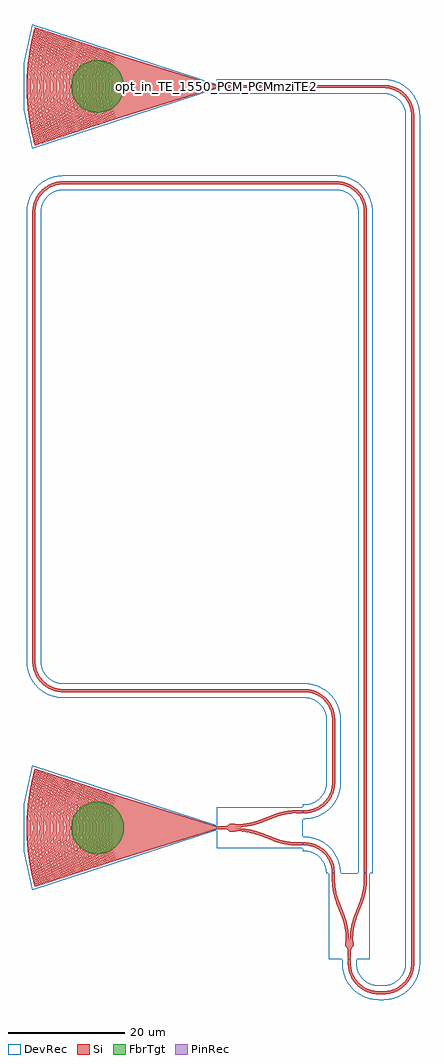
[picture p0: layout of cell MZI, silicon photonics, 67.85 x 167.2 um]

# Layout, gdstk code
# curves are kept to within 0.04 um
from math import pi, radians
import gdstk
lib = gdstk.Library(unit=1e-6, precision=1e-09)
def R(c, l, rs):  # rectangles x0, y0, x1, y1
    for r in rs: c.add(gdstk.rectangle(r[:2], r[2:], *l))
def P(c, l, *ps):  # polygons
    for p in ps: c.add(gdstk.Polygon(p, *l))
Si = (1, 0)
PinRec = (1, 10)
DevRec = (68, 0)
FbrTgt = (81, 0)

te1550_subgc_neg31_oxide = lib.new_cell('TE1550_SubGC_neg31_oxide')
P(te1550_subgc_neg31_oxide, Si, [(-17.556,-5.704),(-17.743,-4.914),(-17.881,-4.233),(-18.016,-3.437),(-18.095,-2.866),(-18.165,-2.237),(-18.222,-1.549),(-18.256,-0.918),(-18.274,-0.115),(-18.264,0.689),(-18.233,1.377),(-18.176,2.122),(-18.095,2.866),(-18.016,3.437),(-17.881,4.233),(-17.743,4.914),(-17.556,5.704),(-17.481,5.68),(-17.643,5.006),(-17.784,4.329),(-17.922,3.536),(-18.032,2.74),(-18.104,2.056),(-18.148,1.486),(-18.186,0.686),(-18.196,0.114),(-18.189,-0.572),(-18.165,-1.2),(-18.123,-1.828),(-18.058,-2.512),(-17.948,-3.365),(-17.826,-4.102),(-17.668,-4.893),(-17.481,-5.68)],
  [(-17.906,-5.818),(-18.207,-4.492),(-18.452,-2.982),(-18.601,-1.405),(-18.643,-0.117),(-18.601,1.405),(-18.452,2.982),(-18.207,4.492),(-17.906,5.818),(-17.659,5.738),(-17.932,4.544),(-18.188,2.998),(-18.338,1.443),(-18.383,0.116),(-18.338,-1.443),(-18.188,-2.998),(-17.932,-4.544),(-17.659,-5.738)],
  [(-18.084,-5.876),(-18.24,-5.237),(-18.4,-4.479),(-18.525,-3.776),(-18.629,-3.071),(-18.717,-2.305),(-18.772,-1.656),(-18.811,-0.946),(-18.83,-0.118),(-18.823,0.592),(-18.791,1.36),(-18.739,2.069),(-18.644,2.953),(-18.544,3.658),(-18.4,4.479),(-18.24,5.237),(-18.084,5.876),(-18.01,5.852),(-18.204,5.041),(-18.368,4.227),(-18.503,3.409),(-18.609,2.589),(-18.713,1.354),(-18.745,0.589),(-18.752,0.118),(-18.745,-0.589),(-18.713,-1.354),(-18.609,-2.589),(-18.503,-3.409),(-18.368,-4.227),(-18.204,-5.041),(-18.01,-5.852)],
  [(-18.435,-5.99),(-18.77,-4.506),(-19.001,-3.071),(-19.135,-1.748),(-19.199,-0.121),(-19.159,1.387),(-19.001,3.071),(-18.77,4.506),(-18.435,5.99),(-18.188,5.91),(-18.517,4.445),(-18.744,3.029),(-18.896,1.427),(-18.939,0.119),(-18.896,-1.427),(-18.759,-2.911),(-18.517,-4.445),(-18.188,-5.91)],
  [(-18.613,-6.048),(-18.815,-5.211),(-18.963,-4.49),(-19.099,-3.705),(-19.201,-2.979),(-19.269,-2.373),(-19.338,-1.522),(-19.369,-0.913),(-19.386,-0.122),(-19.377,0.67),(-19.349,1.339),(-19.286,2.191),(-19.201,2.979),(-19.099,3.705),(-18.963,4.49),(-18.815,5.211),(-18.613,6.048),(-18.539,6.024),(-18.713,5.309),(-18.876,4.532),(-19.013,3.751),(-19.131,2.907),(-19.203,2.242),(-19.264,1.455),(-19.291,0.91),(-19.308,0.121),(-19.299,-0.667),(-19.271,-1.334),(-19.239,-1.819),(-19.166,-2.605),(-19.076,-3.329),(-18.91,-4.352),(-18.753,-5.13),(-18.539,-6.024)],
  [(-18.964,-6.162),(-19.262,-4.881),(-19.533,-3.283),(-19.689,-1.799),(-19.755,-0.124),(-19.717,1.365),(-19.573,2.974),(-19.334,4.513),(-18.964,6.162),(-18.717,6.081),(-19.046,4.636),(-19.301,3.057),(-19.43,1.775),(-19.495,0.122),(-19.454,-1.408),(-19.301,-3.057),(-19.046,-4.636),(-18.717,-6.081)],
  [(-19.142,-6.22),(-19.337,-5.421),(-19.48,-4.742),(-19.625,-3.936),(-19.726,-3.251),(-19.808,-2.566),(-19.884,-1.691),(-19.924,-0.94),(-19.942,-0.125),(-19.934,0.626),(-19.9,1.44),(-19.833,2.316),(-19.758,3.002),(-19.635,3.874),(-19.516,4.556),(-19.337,5.421),(-19.142,6.22),(-19.068,6.195),(-19.289,5.277),(-19.44,4.538),(-19.587,3.673),(-19.696,2.866),(-19.772,2.12),(-19.822,1.435),(-19.853,0.749),(-19.864,0.125),(-19.853,-0.749),(-19.822,-1.435),(-19.772,-2.12),(-19.696,-2.866),(-19.587,-3.673),(-19.44,-4.538),(-19.289,-5.277),(-19.068,-6.195)],
  [(-19.493,-6.334),(-19.839,-4.829),(-20.107,-3.185),(-20.256,-1.658),(-20.311,-0.128),(-20.268,1.467),(-20.107,3.185),(-19.839,4.829),(-19.493,6.334),(-19.246,6.253),(-19.574,4.829),(-19.842,3.207),(-19.997,1.637),(-20.051,0.126),(-20.005,-1.511),(-19.866,-3.019),(-19.622,-4.581),(-19.246,-6.253)],
  [(-19.671,-6.391),(-19.843,-5.697),(-20.008,-4.937),(-20.149,-4.173),(-20.283,-3.278),(-20.379,-2.444),(-20.438,-1.738),(-20.482,-0.901),(-20.498,-0.129),(-20.482,0.901),(-20.438,1.738),(-20.379,2.444),(-20.283,3.278),(-20.149,4.173),(-20.008,4.937),(-19.843,5.697),(-19.671,6.391),(-19.597,6.367),(-19.797,5.55),(-20.005,4.538),(-20.153,3.648),(-20.246,2.946),(-20.325,2.179),(-20.373,1.539),(-20.404,0.898),(-20.42,0.128),(-20.412,-0.641),(-20.384,-1.347),(-20.336,-2.051),(-20.261,-2.819),(-20.153,-3.648),(-20.017,-4.474),(-19.825,-5.424),(-19.597,-6.367)],
  [(-20.022,-6.505),(-20.392,-4.896),(-20.656,-3.272),(-20.81,-1.704),(-20.867,-0.131),(-20.81,1.704),(-20.656,3.272),(-20.392,4.896),(-20.022,6.505),(-19.774,6.425),(-20.139,4.835),(-20.382,3.36),(-20.542,1.812),(-20.607,0.129),(-20.567,-1.424),(-20.399,-3.231),(-20.139,-4.835),(-19.774,-6.425)],
  [(-20.199,-6.563),(-20.437,-5.591),(-20.599,-4.809),(-20.726,-4.089),(-20.832,-3.367),(-20.931,-2.511),(-20.992,-1.785),(-21.04,-0.86),(-21.054,-0.132),(-21.044,0.728),(-21.001,1.653),(-20.931,2.511),(-20.849,3.235),(-20.726,4.089),(-20.599,4.809),(-20.437,5.591),(-20.199,6.563),(-20.125,6.539),(-20.347,5.635),(-20.523,4.791),(-20.67,3.943),(-20.804,2.961),(-20.878,2.239),(-20.923,1.647),(-20.962,0.857),(-20.976,0.132),(-20.966,-0.725),(-20.935,-1.449),(-20.878,-2.239),(-20.804,-2.961),(-20.67,-3.943),(-20.523,-4.791),(-20.347,-5.635),(-20.125,-6.539)],
  [(-20.55,-6.677),(-20.906,-5.158),(-21.205,-3.359),(-21.355,-1.883),(-21.423,-0.135),(-21.373,1.615),(-21.205,3.359),(-20.906,5.158),(-20.55,6.677),(-20.303,6.597),(-20.705,4.833),(-20.957,3.252),(-21.105,1.728),(-21.163,0.133),(-21.105,-1.728),(-20.957,-3.252),(-20.705,-4.833),(-20.303,-6.597)],
  [(-20.728,-6.735),(-20.912,-6.004),(-21.101,-5.136),(-21.249,-4.331),(-21.372,-3.523),(-21.483,-2.577),(-21.546,-1.832),(-21.593,-0.95),(-21.61,-0.136),(-21.593,0.95),(-21.555,1.696),(-21.483,2.577),(-21.39,3.388),(-21.249,4.331),(-21.101,5.136),(-20.912,6.004),(-20.728,6.735),(-20.654,6.711),(-20.868,5.85),(-21.025,5.118),(-21.195,4.181),(-21.33,3.241),(-21.412,2.5),(-21.473,1.758),(-21.515,0.947),(-21.532,0.135),(-21.525,-0.609),(-21.497,-1.352),(-21.448,-2.095),(-21.37,-2.904),(-21.237,-3.913),(-21.077,-4.85),(-20.868,-5.85),(-20.654,-6.711)],
  [(-21.079,-6.849),(-21.432,-5.359),(-21.736,-3.583),(-21.923,-1.725),(-21.979,-0.138),(-21.923,1.725),(-21.772,3.308),(-21.473,5.155),(-21.079,6.849),(-20.832,6.769),(-21.207,5.162),(-21.47,3.608),(-21.664,1.705),(-21.719,0.136),(-21.664,-1.705),(-21.515,-3.269),(-21.207,-5.162),(-20.832,-6.769)],
  [(-21.257,-6.907),(-21.494,-5.953),(-21.655,-5.199),(-21.817,-4.304),(-21.93,-3.544),(-22.042,-2.574),(-22.105,-1.81),(-22.146,-1.044),(-22.166,-0.139),(-22.159,0.627),(-22.114,1.67),(-22.042,2.574),(-21.957,3.336),(-21.817,4.304),(-21.655,5.199),(-21.494,5.953),(-21.257,6.907),(-21.183,6.883),(-21.419,5.932),(-21.606,5.044),(-21.773,4.083),(-21.888,3.256),(-21.971,2.495),(-22.036,1.665),(-22.073,0.902),(-22.088,0.139),(-22.081,-0.624),(-22.052,-1.387),(-22.001,-2.149),(-21.905,-3.117),(-21.773,-4.083),(-21.606,-5.044),(-21.419,-5.932),(-21.183,-6.883)],
  [(-21.608,-7.021),(-21.985,-5.425),(-22.294,-3.603),(-22.482,-1.698),(-22.535,-0.142),(-22.482,1.698),(-22.294,3.603),(-21.985,5.425),(-21.608,7.021),(-21.361,6.941),(-21.761,5.224),(-22.028,3.631),(-22.218,1.749),(-22.275,0.14),(-22.227,-1.609),(-22.073,-3.283),(-21.788,-5.086),(-21.361,-6.941)],
  [(-21.786,-7.079),(-21.964,-6.381),(-22.167,-5.469),(-22.302,-4.765),(-22.469,-3.704),(-22.565,-2.923),(-22.649,-1.997),(-22.704,-0.999),(-22.722,-0.143),(-22.713,0.714),(-22.677,1.57),(-22.601,2.567),(-22.488,3.562),(-22.374,4.341),(-22.195,5.329),(-22.03,6.101),(-21.786,7.079),(-21.712,7.055),(-21.922,6.22),(-22.161,5.1),(-22.308,4.256),(-22.447,3.267),(-22.53,2.487),(-22.586,1.778),(-22.626,0.996),(-22.644,0.142),(-22.635,-0.711),(-22.595,-1.635),(-22.53,-2.487),(-22.447,-3.267),(-22.308,-4.256),(-22.161,-5.1),(-21.922,-6.22),(-21.712,-7.055)],
  [(-22.137,-7.193),(-22.54,-5.486),(-22.843,-3.692),(-23.011,-2.102),(-23.091,-0.145),(-23.045,1.595),(-22.862,3.547),(-22.54,5.486),(-22.137,7.193),(-21.89,7.112),(-22.287,5.425),(-22.596,3.579),(-22.777,1.721),(-22.831,0.143),(-22.777,-1.721),(-22.596,-3.579),(-22.287,-5.425),(-21.89,-7.112)],
  [(-22.315,-7.25),(-22.549,-6.321),(-22.736,-5.458),(-22.895,-4.592),(-23.047,-3.576),(-23.139,-2.776),(-23.218,-1.827),(-23.262,-0.951),(-23.278,-0.146),(-23.262,0.951),(-23.218,1.827),(-23.139,2.776),(-23.047,3.576),(-22.895,4.592),(-22.736,5.458),(-22.549,6.321),(-22.315,7.25),(-22.24,7.226),(-22.457,6.372),(-22.646,5.512),(-22.843,4.432),(-22.979,3.492),(-23.076,2.621),(-23.145,1.748),(-23.184,0.947),(-23.2,0.146),(-23.194,-0.583),(-23.158,-1.53),(-23.102,-2.33),(-23.006,-3.274),(-22.899,-4.071),(-22.73,-5.081),(-22.507,-6.157),(-22.24,-7.226)],
  [(-22.666,-7.364),(-23.095,-5.545),(-23.392,-3.78),(-23.581,-1.93),(-23.647,-0.149),(-23.586,1.856),(-23.421,3.559),(-23.095,5.545),(-22.666,7.364),(-22.418,7.284),(-22.842,5.484),(-23.145,3.666),(-23.311,2.056),(-23.387,0.147),(-23.336,-1.689),(-23.145,-3.666),(-22.842,-5.484),(-22.418,-7.284)],
  [(-22.843,-7.422),(-23.067,-6.545),(-23.262,-5.662),(-23.441,-4.701),(-23.556,-3.959),(-23.691,-2.842),(-23.762,-2.02),(-23.815,-1.048),(-23.834,-0.15),(-23.82,0.898),(-23.782,1.721),(-23.713,2.618),(-23.606,3.587),(-23.441,4.701),(-23.277,5.588),(-23.067,6.545),(-22.843,7.422),(-22.769,7.398),(-22.992,6.523),(-23.201,5.57),(-23.389,4.538),(-23.538,3.501),(-23.642,2.535),(-23.704,1.716),(-23.742,0.895),(-23.756,0.149),(-23.742,-0.895),(-23.704,-1.716),(-23.642,-2.535),(-23.565,-3.278),(-23.401,-4.464),(-23.23,-5.423),(-22.992,-6.523),(-22.769,-7.398)],
  [(-23.194,-7.536),(-23.605,-5.824),(-23.951,-3.793),(-24.135,-1.976),(-24.203,-0.152),(-24.15,1.748),(-23.961,3.718),(-23.605,5.824),(-23.194,7.536),(-22.947,7.456),(-23.368,5.688),(-23.684,3.827),(-23.876,1.955),(-23.943,0.15),(-23.886,-1.804),(-23.704,-3.678),(-23.383,-5.614),(-22.947,-7.456)],
  [(-23.372,-7.594),(-23.602,-6.696),(-23.802,-5.793),(-23.96,-4.962),(-24.115,-3.975),(-24.219,-3.137),(-24.316,-2.067),(-24.373,-0.996),(-24.39,-0.153),(-24.373,0.996),(-24.316,2.067),(-24.219,3.137),(-24.115,3.975),(-23.96,4.962),(-23.802,5.793),(-23.602,6.696),(-23.372,7.594),(-23.298,7.57),(-23.562,6.525),(-23.801,5.399),(-23.971,4.417),(-24.088,3.583),(-24.188,2.67),(-24.249,1.908),(-24.295,0.993),(-24.312,0.153),(-24.3,-0.84),(-24.263,-1.68),(-24.195,-2.594),(-24.088,-3.583),(-23.971,-4.417),(-23.801,-5.399),(-23.562,-6.525),(-23.298,-7.57)],
  [(-23.723,-7.708),(-24.145,-5.957),(-24.479,-4.035),(-24.678,-2.176),(-24.759,-0.156),(-24.709,1.71),(-24.5,3.88),(-24.145,5.957),(-23.723,7.708),(-23.476,7.628),(-23.908,5.819),(-24.233,3.916),(-24.43,2),(-24.499,0.154),(-24.43,-2),(-24.233,-3.916),(-23.908,-5.819),(-23.476,-7.628)],
  [(-23.901,-7.766),(-24.137,-6.848),(-24.358,-5.848),(-24.518,-4.997),(-24.674,-3.987),(-24.779,-3.13),(-24.87,-2.115),(-24.916,-1.332),(-24.946,-0.157),(-24.931,0.94),(-24.891,1.802),(-24.803,2.896),(-24.695,3.832),(-24.531,4.92),(-24.358,5.848),(-24.137,6.848),(-23.901,7.766),(-23.827,7.742),(-24.098,6.674),(-24.313,5.676),(-24.493,4.672),(-24.638,3.665),(-24.733,2.809),(-24.803,1.952),(-24.848,1.094),(-24.868,0.156),(-24.858,-0.781),(-24.818,-1.718),(-24.733,-2.809),(-24.638,-3.665),(-24.493,-4.672),(-24.313,-5.676),(-24.098,-6.674),(-23.827,-7.742)],
  [(-24.252,-7.88),(-24.717,-5.934),(-25.049,-3.967),(-25.232,-2.225),(-25.315,-0.159),(-25.259,1.828),(-25.07,3.809),(-24.717,5.934),(-24.252,7.88),(-24.005,7.8),(-24.464,5.873),(-24.782,4.005),(-24.973,2.202),(-25.055,0.157),(-25.009,-1.652),(-24.803,-3.848),(-24.464,-5.873),(-24.005,-7.8)],
  [(-24.43,-7.938),(-24.709,-6.843),(-24.866,-6.135),(-25.049,-5.187),(-25.234,-3.997),(-25.339,-3.12),(-25.424,-2.162),(-25.478,-1.202),(-25.502,-0.16),(-25.489,0.881),(-25.435,2.002),(-25.339,3.12),(-25.234,3.997),(-25.049,5.187),(-24.866,6.135),(-24.709,6.843),(-24.43,7.938),(-24.356,7.914),(-24.634,6.822),(-24.839,5.881),(-25,5.014),(-25.178,3.826),(-25.278,2.952),(-25.352,2.075),(-25.397,1.278),(-25.424,0.16),(-25.409,-0.958),(-25.377,-1.677),(-25.293,-2.792),(-25.198,-3.667),(-25.052,-4.697),(-24.839,-5.881),(-24.634,-6.822),(-24.356,-7.914)],
  [(-24.781,-8.052),(-25.241,-6.144),(-25.576,-4.216),(-25.803,-2.031),(-25.871,-0.163),(-25.803,2.031),(-25.609,3.974),(-25.274,5.984),(-24.781,8.052),(-24.533,7.971),(-24.972,6.161),(-25.308,4.253),(-25.544,2.01),(-25.611,0.161),(-25.544,-2.01),(-25.352,-3.934),(-25.021,-5.924),(-24.533,-7.971)],
  [(-24.959,-8.11),(-25.187,-7.232),(-25.423,-6.188),(-25.635,-5.057),(-25.772,-4.165),(-25.891,-3.188),(-25.984,-2.127),(-26.03,-1.31),(-26.058,-0.164),(-26.045,0.9),(-25.995,1.964),(-25.891,3.188),(-25.794,4.002),(-25.635,5.057),(-25.423,6.188),(-25.187,7.232),(-24.959,8.11),(-24.884,8.085),(-25.15,7.051),(-25.38,6.009),(-25.572,4.961),(-25.738,3.828),(-25.846,2.853),(-25.917,1.958),(-25.967,0.898),(-25.98,0.163),(-25.967,-0.898),(-25.932,-1.713),(-25.868,-2.609),(-25.768,-3.585),(-25.624,-4.638),(-25.412,-5.848),(-25.207,-6.811),(-24.884,-8.085)],
  [(-25.31,-8.224),(-25.815,-6.112),(-26.136,-4.224),(-26.357,-2.074),(-26.427,-0.166),(-26.368,1.909),(-26.18,3.894),(-25.815,6.112),(-25.31,8.224),(-25.062,8.143),(-25.512,6.295),(-25.868,4.264),(-26.098,2.054),(-26.167,0.164),(-26.123,-1.644),(-25.923,-3.856),(-25.562,-6.052),(-25.062,-8.143)],
  [(-25.487,-8.281),(-25.761,-7.222),(-25.946,-6.402),(-26.152,-5.33),(-26.321,-4.254),(-26.451,-3.173),(-26.532,-2.256),(-26.589,-1.254),(-26.614,-0.167),(-26.598,1.003),(-26.538,2.172),(-26.451,3.173),(-26.321,4.254),(-26.152,5.33),(-25.946,6.402),(-25.761,7.222),(-25.487,8.281),(-25.413,8.257),(-25.686,7.201),(-25.921,6.137),(-26.118,5.067),(-26.288,3.91),(-26.374,3.164),(-26.466,2.083),(-26.511,1.25),(-26.536,0.167),(-26.525,-0.834),(-26.482,-1.833),(-26.406,-2.831),(-26.288,-3.91),(-26.118,-5.067),(-25.921,-6.137),(-25.686,-7.201),(-25.413,-8.257)],
  [(-25.838,-8.395),(-26.339,-6.323),(-26.685,-4.312),(-26.887,-2.456),(-26.983,-0.17),(-26.917,2.033),(-26.708,4.144),(-26.356,6.24),(-25.838,8.395),(-25.591,8.315),(-26.086,6.263),(-26.44,4.188),(-26.658,2.014),(-26.723,0.168),(-26.658,-2.014),(-26.44,-4.188),(-26.086,-6.263),(-25.591,-8.315)],
  [(-26.016,-8.453),(-26.256,-7.539),(-26.503,-6.451),(-26.697,-5.441),(-26.858,-4.427),(-26.976,-3.494),(-27.086,-2.303),(-27.144,-1.28),(-27.17,-0.085),(-27.156,0.939),(-27.098,2.133),(-27.012,3.154),(-26.893,4.173),(-26.726,5.272),(-26.538,6.283),(-26.256,7.539),(-26.016,8.453),(-25.942,8.429),(-26.261,7.184),(-26.479,6.181),(-26.664,5.173),(-26.838,3.992),(-26.943,3.06),(-27.026,2.042),(-27.078,0.936),(-27.092,0.085),(-27.078,-0.936),(-27.026,-2.042),(-26.943,-3.06),(-26.838,-3.992),(-26.664,-5.173),(-26.479,-6.181),(-26.261,-7.184),(-25.942,-8.429)],
  [(-26.367,-8.567),(-26.897,-6.368),(-27.246,-4.315),(-27.466,-2.162),(-27.539,-0.087),(-27.466,2.162),(-27.246,4.315),(-26.897,6.368),(-26.367,8.567),(-26.12,8.487),(-26.644,6.308),(-26.989,4.275),(-27.218,1.97),(-27.279,0.086),(-27.218,-1.97),(-26.989,-4.275),(-26.644,-6.308),(-26.12,-8.487)],
  [(-26.545,-8.625),(-26.832,-7.522),(-27.079,-6.411),(-27.286,-5.294),(-27.442,-4.258),(-27.573,-3.132),(-27.658,-2.089),(-27.712,-0.958),(-27.726,-0.087),(-27.712,0.958),(-27.658,2.089),(-27.573,3.132),(-27.442,4.258),(-27.286,5.294),(-27.079,6.411),(-26.832,7.522),(-26.545,8.625),(-26.471,8.601),(-26.777,7.416),(-27.003,6.393),(-27.195,5.365),(-27.365,4.246),(-27.487,3.209),(-27.586,1.997),(-27.634,0.955),(-27.648,0.087),(-27.634,-0.955),(-27.586,-1.997),(-27.52,-2.863),(-27.42,-3.815),(-27.265,-4.935),(-27.071,-6.051),(-26.817,-7.246),(-26.63,-8.01),(-26.471,-8.601)],
  [(-26.896,-8.739),(-27.402,-6.67),(-27.783,-4.49),(-28.014,-2.293),(-28.095,-0.088),(-28.026,2.117),(-27.807,4.315),(-27.438,6.496),(-26.896,8.739),(-26.649,8.659),(-27.185,6.436),(-27.55,4.275),(-27.761,2.185),(-27.835,0.087),(-27.761,-2.185),(-27.55,-4.275),(-27.185,-6.436),(-26.649,-8.659)],
  [(-27.074,-8.797),(-27.346,-7.759),(-27.602,-6.627),(-27.802,-5.576),(-27.955,-4.608),(-28.098,-3.46),(-28.194,-2.397),(-28.255,-1.332),(-28.282,-0.089),(-28.265,1.066),(-28.218,2.042),(-28.134,3.106),(-28.015,4.167),(-27.832,5.4),(-27.62,6.539),(-27.346,7.759),(-27.074,8.797),(-27,8.773),(-27.292,7.651),(-27.544,6.521),(-27.77,5.297),(-27.949,4.067),(-28.048,3.186),(-28.129,2.214),(-28.184,1.152),(-28.204,0.089),(-28.187,-1.063),(-28.146,-1.948),(-28.073,-2.921),(-27.949,-4.067),(-27.77,-5.297),(-27.544,-6.521),(-27.292,-7.651),(-27,-8.773)],
  [(-27.425,-8.911),(-27.979,-6.624),(-28.344,-4.489),(-28.568,-2.339),(-28.651,-0.09),(-28.568,2.339),(-28.344,4.489),(-27.979,6.624),(-27.425,8.911),(-27.177,8.83),(-27.708,6.652),(-28.075,4.537),(-28.309,2.317),(-28.391,0.089),(-28.309,-2.317),(-28.075,-4.537),(-27.708,-6.652),(-27.177,-8.83)],
  [(-27.603,-8.969),(-27.881,-7.91),(-28.124,-6.845),(-28.347,-5.685),(-28.529,-4.518),(-28.678,-3.257),(-28.761,-2.264),(-28.814,-1.268),(-28.838,-0.091),(-28.826,0.906),(-28.761,2.264),(-28.678,3.257),(-28.529,4.518),(-28.347,5.685),(-28.124,6.845),(-27.881,7.91),(-27.603,8.969),(-27.528,8.944),(-27.806,7.889),(-28.085,6.649),(-28.316,5.402),(-28.476,4.327),(-28.582,3.428),(-28.677,2.348),(-28.736,1.265),(-28.76,0.09),(-28.748,-0.903),(-28.695,-2.077),(-28.609,-3.158),(-28.499,-4.147),(-28.331,-5.312),(-28.121,-6.472),(-27.87,-7.624),(-27.528,-8.944)],
  [(-27.953,-9.083),(-28.52,-6.752),(-28.893,-4.576),(-29.135,-2.201),(-29.207,-0.092),(-29.135,2.201),(-28.918,4.394),(-28.52,6.752),(-27.953,9.083),(-27.706,9.002),(-28.23,6.871),(-28.624,4.626),(-28.863,2.363),(-28.947,0.091),(-28.887,-2),(-28.649,-4.445),(-28.23,-6.871),(-27.706,-9.002)],
  [(-28.131,-9.14),(-28.416,-8.062),(-28.645,-7.068),(-28.86,-5.977),(-29.078,-4.605),(-29.221,-3.412),(-29.315,-2.307),(-29.373,-1.2),(-29.394,-0.092),(-29.373,1.2),(-29.315,2.307),(-29.221,3.412),(-29.078,4.605),(-28.86,5.977),(-28.645,7.068),(-28.416,8.062),(-28.131,9.14),(-28.057,9.116),(-28.363,7.951),(-28.663,6.596),(-28.892,5.323),(-29.061,4.136),(-29.179,3.036),(-29.255,2.025),(-29.301,1.013),(-29.316,0.092),(-29.301,-1.013),(-29.255,-2.025),(-29.179,-3.036),(-29.061,-4.136),(-28.892,-5.323),(-28.663,-6.596),(-28.363,-7.951),(-28.057,-9.116)],
  [(-28.482,-9.254),(-29.003,-7.156),(-29.416,-4.849),(-29.683,-2.336),(-29.763,-0.094),(-29.683,2.336),(-29.455,4.57),(-29.042,6.972),(-28.482,9.254),(-28.235,9.174),(-28.77,7.003),(-29.173,4.714),(-29.424,2.316),(-29.503,0.093),(-29.424,-2.316),(-29.173,-4.714),(-28.77,-7.003),(-28.235,-9.174)],
  [(-28.66,-9.312),(-28.928,-8.306),(-29.224,-7.016),(-29.421,-5.996),(-29.601,-4.879),(-29.733,-3.851),(-29.863,-2.445),(-29.925,-1.317),(-29.95,-0.094),(-29.937,0.941),(-29.882,2.163),(-29.792,3.289),(-29.64,4.599),(-29.437,5.904),(-29.224,7.016),(-28.928,8.306),(-28.66,9.312),(-28.586,9.288),(-28.898,8.101),(-29.148,6.998),(-29.393,5.703),(-29.563,4.587),(-29.696,3.467),(-29.798,2.251),(-29.847,1.314),(-29.872,0.094),(-29.862,-0.845),(-29.798,-2.251),(-29.696,-3.467),(-29.563,-4.587),(-29.393,-5.703),(-29.148,-6.998),(-28.898,-8.101),(-28.586,-9.288)],
  [(-29.011,-9.426),(-29.563,-7.196),(-29.965,-4.939),(-30.237,-2.38),(-30.319,-0.095),(-30.25,2.19),(-30.017,4.561),(-29.602,7.008),(-29.011,9.426),(-28.764,9.346),(-29.33,7.041),(-29.735,4.709),(-29.978,2.359),(-30.059,0.094),(-29.978,-2.359),(-29.735,-4.709),(-29.33,-7.041),(-28.764,-9.346)],
  [(-29.189,-9.484),(-29.554,-8.085),(-29.784,-7.052),(-29.999,-5.918),(-30.163,-4.874),(-30.295,-3.827),(-30.417,-2.49),(-30.484,-1.246),(-30.506,-0.096),(-30.484,1.246),(-30.417,2.49),(-30.295,3.827),(-30.163,4.874),(-29.999,5.918),(-29.784,7.052),(-29.554,8.085),(-29.189,9.484),(-29.115,9.46),(-29.456,8.158),(-29.708,7.034),(-29.97,5.62),(-30.125,4.577),(-30.248,3.532),(-30.346,2.388),(-30.406,1.242),(-30.428,0.096),(-30.406,-1.242),(-30.346,-2.388),(-30.248,-3.532),(-30.125,-4.577),(-29.97,-5.62),(-29.708,-7.034),(-29.456,-8.158),(-29.115,-9.46)],
  [(-29.54,-9.598),(-30.143,-7.137),(-30.554,-4.741),(-30.798,-2.327),(-30.875,-0.097),(-30.798,2.327),(-30.554,4.741),(-30.143,7.137),(-29.54,9.598),(-29.293,9.518),(-29.89,7.077),(-30.284,4.796),(-30.539,2.307),(-30.615,0.096),(-30.539,-2.307),(-30.284,-4.796),(-29.89,-7.077),(-29.293,-9.518)],
  [(-29.718,-9.656),(-29.997,-8.613),(-30.285,-7.371),(-30.493,-6.315),(-30.712,-4.963),(-30.857,-3.8),(-30.964,-2.633),(-31.036,-1.366),(-31.062,-0.098),(-31.046,1.073),(-30.991,2.243),(-30.897,3.411),(-30.752,4.673),(-30.561,5.929),(-30.345,7.084),(-30.044,8.422),(-29.718,9.656),(-29.643,9.632),(-29.969,8.401),(-30.269,7.066),(-30.501,5.818),(-30.7,4.468),(-30.829,3.306),(-30.907,2.335),(-30.965,1.168),(-30.984,0.097),(-30.965,-1.168),(-30.907,-2.335),(-30.829,-3.306),(-30.7,-4.468),(-30.501,-5.818),(-30.269,-7.066),(-29.969,-8.401),(-29.643,-9.632)],
  [(-30.069,-9.77),(-30.664,-7.362),(-31.09,-4.924),(-31.346,-2.467),(-31.431,-0.099),(-31.346,2.467),(-31.09,4.924),(-30.664,7.362),(-30.069,9.77),(-29.821,9.69),(-30.411,7.301),(-30.833,4.883),(-31.093,2.349),(-31.171,0.098),(-31.093,-2.349),(-30.833,-4.883),(-30.411,-7.301),(-29.821,-9.69)],
  [(-30.246,-9.828),(-30.603,-8.475),(-30.866,-7.308),(-31.107,-6.035),(-31.288,-4.855),(-31.43,-3.67),(-31.539,-2.382),(-31.595,-1.291),(-31.618,-0.099),(-31.595,1.291),(-31.539,2.382),(-31.43,3.67),(-31.288,4.855),(-31.107,6.035),(-30.866,7.308),(-30.603,8.475),(-30.246,9.828),(-30.172,9.804),(-30.528,8.455),(-30.77,7.387),(-30.907,6.705),(-31.047,5.922),(-31.211,4.843),(-31.342,3.759),(-31.461,2.377),(-31.517,1.288),(-31.54,0.099),(-31.529,-0.892),(-31.474,-2.179),(-31.391,-3.266),(-31.25,-4.548),(-31.047,-5.922),(-30.83,-7.095),(-30.528,-8.455),(-30.172,-9.804)],
  [(-30.597,-9.942),(-31.225,-7.393),(-31.625,-5.111),(-31.893,-2.611),(-31.987,-0.1),(-31.907,2.41),(-31.653,4.911),(-31.225,7.393),(-30.597,9.942),(-30.35,9.861),(-30.931,7.529),(-31.396,4.872),(-31.641,2.49),(-31.727,0.1),(-31.641,-2.49),(-31.396,-4.872),(-30.931,-7.529),(-30.35,-9.861)],
  [(-30.775,-9.999),(-31.09,-8.821),(-31.344,-7.734),(-31.564,-6.64),(-31.795,-5.241),(-31.95,-4.036),(-32.072,-2.727),(-32.129,-1.819),(-32.154,-1.213),(-32.174,-0.101),(-32.154,1.213),(-32.1,2.323),(-32.012,3.432),(-31.851,4.84),(-31.686,5.941),(-31.428,7.337),(-31.139,8.624),(-30.775,9.999),(-30.701,9.975),(-31.015,8.8),(-31.18,8.11),(-31.352,7.319),(-31.593,6.027),(-31.774,4.828),(-31.915,3.625),(-32.009,2.519),(-32.069,1.411),(-32.096,0.101),(-32.076,-1.21),(-32.009,-2.519),(-31.915,-3.625),(-31.774,-4.828),(-31.593,-6.027),(-31.352,-7.319),(-31.18,-8.11),(-31.015,-8.8),(-30.701,-9.975)],
  [(-31.126,-10.114),(-31.724,-7.722),(-32.174,-5.199),(-32.447,-2.656),(-32.543,-0.102),(-32.519,1.329),(-32.447,2.656),(-32.174,5.199),(-31.724,7.722),(-31.126,10.114),(-30.879,10.033),(-31.471,7.66),(-31.917,5.158),(-32.188,2.635),(-32.283,0.101),(-32.202,-2.433),(-31.959,-4.856),(-31.534,-7.361),(-31.244,-8.653),(-30.879,-10.033)],
  [(-17.378,-5.646),(-17.678,-4.303),(-17.903,-2.893),(-18.043,-1.42),(-18.087,-0.114),(-18.05,1.306),(-17.924,2.724),(-17.678,4.303),(-17.378,5.646),(0,0.25),(0,-0.25)])
te1550_subgc_neg31_oxide.add(gdstk.Label('Ref: Yun Wang, Optics Express, 08/2014', (-33,0), layer=10, texttype=0))
te1550_subgc_neg31_oxide.add(gdstk.Label('http://dx.doi.org/10.1364/OE.22.020652', (-33,-2), layer=10, texttype=0))
te1550_subgc_neg31_oxide.add(gdstk.Label('TE 1550 -31 deg', (-33,2), layer=10, texttype=0))

opticalfibre_9micron = lib.new_cell('OpticalFibre_9micron')
P(opticalfibre_9micron, FbrTgt, [(-0.221,-4.5),(-1.095,-4.37),(-1.926,-4.073),(-2.684,-3.619),(-3.338,-3.026),(-3.864,-2.316),(-4.242,-1.518),(-4.457,-0.661),(-4.5,0.221),(-4.37,1.095),(-4.073,1.926),(-3.619,2.684),(-3.026,3.338),(-2.316,3.864),(-1.518,4.242),(-0.661,4.457),(0.221,4.5),(1.095,4.37),(1.926,4.073),(2.684,3.619),(3.338,3.026),(3.864,2.316),(4.242,1.518),(4.457,0.661),(4.5,-0.221),(4.37,-1.095),(4.073,-1.926),(3.619,-2.684),(3.026,-3.338),(2.316,-3.864),(1.518,-4.242),(0.661,-4.457)])

ebeam_gc_te1550 = lib.new_cell('ebeam_gc_te1550')
R(ebeam_gc_te1550, Si, [(-0.001,-0.001,0.001,0.001)])
P(ebeam_gc_te1550, DevRec, [(-31.6,-10.7),(-33,-4),(-33,4),(-31.6,10.7),(0,0.4),(0,-0.4)])
ebeam_gc_te1550.add(gdstk.FlexPath([(-0.1,0),(0.1,0)], 0.5, ends="flush", simple_path=True, layer=1, datatype=10))  # PinRec
ebeam_gc_te1550.add(gdstk.Reference(te1550_subgc_neg31_oxide, (0,0)))
ebeam_gc_te1550.add(gdstk.Reference(opticalfibre_9micron, (-20.4,0)))
ebeam_gc_te1550.add(gdstk.Label('pin1', (0,0), layer=1, texttype=10))
ebeam_gc_te1550.add(gdstk.Label('Component=ebeam_gc_te1550', (-28,-5), layer=68, texttype=0))
ebeam_gc_te1550.add(gdstk.Label('Lumerical_INTERCONNECT_library=Design kits/ebeam', (-29,-7), layer=68, texttype=0))

ybranch_compact = lib.new_cell('YBranch_Compact')
R(ybranch_compact, Si, [(14,-3,14.9,-2.5), (0.1,-0.25,1.5,0.25), (14,2.5,14.9,3)])
P(ybranch_compact, Si, [(13.958,-3),(13.737,-2.997),(13.737,-2.497),(14,-2.5),(14,-3)],
  [(12.533,-2.908),(11.09,-2.634),(9.765,-2.21),(9.945,-1.744),(11.231,-2.154),(12.533,-2.404)],
  [(13.733,-2.997),(12.533,-2.908),(12.533,-2.404),(13.737,-2.497)],
  [(9.765,-2.21),(7.555,-1.356),(7.735,-0.89),(9.945,-1.744)],
  [(6.738,-1.076),(5.166,-0.724),(3.5,-0.6),(3.5,-0.1),(5.119,-0.212),(6.738,-0.555)],
  [(7.555,-1.356),(6.738,-1.076),(6.738,-0.555),(7.735,-0.89)],
  [(13.737,2.497),(13.737,2.997),(14,3),(14,2.5)],
  [(9.945,1.744),(9.767,2.211),(11.09,2.634),(12.533,2.908),(12.533,2.404),(11.231,2.154)],
  [(12.533,2.404),(12.533,2.908),(13.737,2.997),(13.737,2.497)],
  [(7.735,0.89),(7.555,1.356),(9.765,2.21),(9.945,1.744)],
  [(3.5,0.1),(3.5,0.6),(5.166,0.724),(6.738,1.076),(6.738,0.555),(5.119,0.212)],
  [(6.738,0.555),(6.738,1.076),(7.555,1.356),(7.735,0.89)],
  [(2.378,-0.662),(2.058,-0.374),(1.692,-0.255),(1.5,-0.25),(1.5,0.25),(1.683,0.253),(2.058,0.374),(2.378,0.662)],
  [(2.543,-0.703),(2.378,-0.662),(2.378,0.662),(2.962,0.703),(3.5,0.6),(3.5,-0.6),(2.991,-0.701)])
ybranch_compact.add(gdstk.Label('Ref: Y Zhang, Opt. Express, 21/1, 2013', (0,-1), layer=10, texttype=0))

ebeam_y_1550 = lib.new_cell('ebeam_y_1550')
R(ebeam_y_1550, DevRec, [(-7.4,-3.5,7.4,3.5)])
ebeam_y_1550.add(gdstk.FlexPath([(7.3,2.75),(7.5,2.75)], 0.5, ends="flush", simple_path=True, layer=1, datatype=10))  # PinRec
ebeam_y_1550.add(gdstk.FlexPath([(7.3,-2.75),(7.5,-2.75)], 0.5, ends="flush", simple_path=True, layer=1, datatype=10))  # PinRec
ebeam_y_1550.add(gdstk.FlexPath([(-7.3,0),(-7.5,0)], 0.5, ends="flush", simple_path=True, layer=1, datatype=10))  # PinRec
ebeam_y_1550.add(gdstk.Reference(ybranch_compact, (-7.5,0)))
ebeam_y_1550.add(gdstk.Label('pin2', (7.4,2.75), layer=1, texttype=10))
ebeam_y_1550.add(gdstk.Label('pin3', (7.4,-2.75), layer=1, texttype=10))
ebeam_y_1550.add(gdstk.Label('pin1', (-7.4,0), layer=1, texttype=10))
ebeam_y_1550.add(gdstk.Label('Component=ebeam_y_1550', (-6,1.5), layer=68, texttype=0))
ebeam_y_1550.add(gdstk.Label('Lumerical_INTERCONNECT_library=Design kits/ebeam', (-6.86,-2.19), layer=68, texttype=0))

waveguide = lib.new_cell('Waveguide')
P(waveguide, Si, [(63.25,95.25),(63.25,208.5),(63.155,209.443),(62.821,210.473),(62.178,211.507),(61.712,212),(61.181,212.42),(60.096,212.974),(59.443,213.155),(58.771,213.242),(11.564,213.248),(10.757,213.155),(9.851,212.876),(9.133,212.496),(8.389,211.907),(7.858,211.293),(7.437,210.596),(7.106,209.707),(6.967,208.906),(6.95,131.5),(7.045,130.557),(7.324,129.651),(7.632,129.048),(8.022,128.493),(8.907,127.658),(9.483,127.299),(10.104,127.026),(11.294,126.767),(53.2,126.748),(54.385,126.578),(55.499,126.143),(56.488,125.468),(57.298,124.585),(57.886,123.543),(58.223,122.396),(58.3,121.5),(58.3,110.75),(58.247,110.003),(58.043,109.128),(57.622,108.168),(57.018,107.312),(56.373,106.686),(55.632,106.178),(54.672,105.757),(53.797,105.553),(52.8,105.5),(52.8,106),(53.86,106.069),(54.774,106.324),(55.617,106.754),(56.361,107.343),(56.892,107.957),(57.313,108.654),(57.607,109.412),(57.769,110.209),(57.8,121.5),(57.731,122.31),(57.426,123.349),(56.892,124.293),(56.16,125.09),(55.267,125.701),(54.257,126.094),(53.05,126.25),(11.25,126.269),(10.512,126.386),(9.796,126.608),(9.118,126.928),(8.494,127.342),(8.041,127.735),(7.542,128.294),(7.128,128.918),(6.808,129.596),(6.527,130.604),(6.45,131.5),(6.452,208.65),(6.527,209.396),(6.707,210.122),(6.989,210.816),(7.366,211.463),(7.732,211.938),(8.262,212.468),(8.861,212.916),(9.519,213.275),(10.512,213.614),(11.7,213.75),(58.799,213.742),(59.396,213.673),(60.122,213.493),(60.816,213.211),(61.463,212.834),(61.938,212.468),(62.468,211.938),(62.916,211.339),(63.275,210.681),(63.614,209.688),(63.75,208.5),(63.75,95.25)])
P(waveguide, DevRec, [(62.25,95.25),(62.25,208.5),(62.152,209.352),(61.911,210.057),(61.404,210.873),(60.618,211.594),(59.76,212.032),(58.715,212.244),(11.592,212.248),(10.848,212.152),(10.24,211.954),(9.675,211.656),(9.163,211.262),(8.73,210.79),(8.335,210.154),(8.073,209.452),(7.963,208.819),(7.95,131.5),(8.025,130.757),(8.246,130.04),(8.73,129.21),(9.493,128.468),(10.44,127.968),(11.485,127.756),(53.228,127.748),(53.937,127.687),(54.64,127.545),(55.482,127.258),(56.122,126.944),(57.275,126.106),(58.108,125.171),(58.494,124.572),(58.808,123.932),(59.046,123.263),(59.208,122.568),(59.3,121.5),(59.3,110.75),(59.237,109.863),(58.994,108.819),(58.494,107.678),(57.888,106.793),(57.007,105.912),(56.122,105.306),(54.981,104.806),(53.937,104.563),(52.8,104.5),(52.8,107),(53.587,107.039),(54.31,107.218),(54.984,107.537),(55.506,107.916),(56.02,108.46),(56.366,108.999),(56.648,109.695),(56.787,110.431),(56.761,122.037),(56.504,122.96),(56.082,123.707),(55.506,124.334),(54.801,124.816),(53.902,125.152),(53.05,125.25),(11.163,125.273),(10.288,125.412),(9.435,125.675),(8.628,126.056),(7.884,126.55),(7.344,127.017),(6.75,127.684),(6.256,128.428),(5.875,129.235),(5.542,130.432),(5.45,131.5),(5.452,208.678),(5.542,209.568),(5.756,210.431),(6.091,211.258),(6.54,212.026),(7.094,212.725),(7.743,213.338),(8.47,213.851),(9.103,214.185),(9.769,214.444),(10.457,214.625),(11.7,214.75),(58.855,214.74),(59.568,214.658),(60.431,214.444),(61.258,214.109),(62.026,213.66),(62.725,213.106),(63.338,212.457),(63.851,211.73),(64.185,211.097),(64.444,210.431),(64.625,209.743),(64.75,208.5),(64.75,95.25)])
waveguide.add(gdstk.FlexPath([(52.85,105.75),(52.75,105.75)], 0.5, ends="flush", simple_path=True, layer=1, datatype=10))  # PinRec
waveguide.add(gdstk.FlexPath([(63.5,95.3),(63.5,95.2)], 0.5, ends="flush", simple_path=True, layer=1, datatype=10))  # PinRec
waveguide.add(gdstk.Label('pin1', (52.8,105.75), layer=1, texttype=10))
waveguide.add(gdstk.Label('pin2', (63.5,95.25), layer=1, texttype=10))
waveguide.add(gdstk.Label('Lumerical_INTERCONNECT_library=Design kits/ebeam', (52.8,105.75), layer=68, texttype=0))
waveguide.add(gdstk.Label('Component=ebeam_wg_integral_1550', (52.8,106.25), layer=68, texttype=0))
waveguide.add(gdstk.Label('Spice_param:wg_length=328.665u wg_width=0.500u points="[[52.8,105.75],[58.05,105.75],[58.05,126.5],[6.7,126.5],[6.7,213.5],[63.5,213.5],[63.5,95.25]]" radius=5.0', (52.8,105.25), layer=68, texttype=0))

waveguide_1 = lib.new_cell('Waveguide$1')
P(waveguide_1, Si, [(65.749,74.5),(64.562,74.636),(63.569,74.975),(62.544,75.592),(61.782,76.312),(61.178,77.168),(60.713,78.27),(60.519,79.3),(60.5,80.45),(61,80.45),(61.031,79.209),(61.233,78.282),(61.614,77.414),(62.25,76.538),(62.85,75.988),(63.654,75.487),(64.543,75.156),(65.344,75.017),(66.871,75.008),(67.676,75.124),(68.573,75.429),(69.393,75.908),(70.1,76.538),(70.736,77.414),(71.117,78.282),(71.333,79.344),(71.35,225),(71.281,225.81),(71.074,226.596),(70.801,227.217),(70.362,227.9),(69.911,228.407),(69.393,228.842),(68.696,229.263),(68.068,229.517),(67.277,229.701),(66.6,229.75),(38,229.75),(38,230.25),(66.6,230.25),(67.347,230.197),(68.08,230.037),(68.916,229.711),(69.563,229.334),(70.259,228.765),(70.758,228.206),(71.243,227.449),(71.593,226.622),(71.773,225.896),(71.85,225),(71.848,79.6),(71.714,78.562),(71.375,77.569),(70.758,76.544),(70.038,75.782),(69.182,75.178),(68.08,74.713),(67.05,74.519)])
P(waveguide_1, DevRec, [(65.747,73.5),(64.507,73.625),(63.318,73.992),(62.678,74.306),(62.079,74.692),(61.144,75.525),(60.306,76.678),(59.806,77.819),(59.541,79.036),(59.5,80.45),(62,80.45),(62.013,79.431),(62.123,78.798),(62.385,78.096),(62.78,77.46),(63.377,76.846),(63.999,76.434),(64.695,76.152),(65.431,76.013),(66.708,76.002),(67.343,76.075),(68.06,76.296),(68.807,76.718),(69.362,77.213),(69.864,77.904),(70.166,78.591),(70.337,79.431),(70.35,225),(70.296,225.638),(70.132,226.26),(69.916,226.751),(69.289,227.614),(68.89,227.97),(68.351,228.316),(67.86,228.532),(67.238,228.696),(66.6,228.75),(38,228.75),(38,231.25),(66.6,231.25),(67.487,231.187),(68.363,230.996),(69.358,230.609),(70.271,230.058),(70.956,229.483),(71.55,228.816),(72.128,227.915),(72.544,226.931),(72.758,226.068),(72.85,225),(72.84,79.395),(72.645,78.16),(72.209,76.992),(71.55,75.934),(71.083,75.394),(70.557,74.912),(69.515,74.222),(68.363,73.754),(67.137,73.523)])
waveguide_1.add(gdstk.FlexPath([(60.75,80.4),(60.75,80.5)], 0.5, ends="flush", simple_path=True, layer=1, datatype=10))  # PinRec
waveguide_1.add(gdstk.FlexPath([(38.05,230),(37.95,230)], 0.5, ends="flush", simple_path=True, layer=1, datatype=10))  # PinRec
waveguide_1.add(gdstk.Label('pin1', (60.75,80.45), layer=1, texttype=10))
waveguide_1.add(gdstk.Label('pin2', (38,230), layer=1, texttype=10))
waveguide_1.add(gdstk.Label('Lumerical_INTERCONNECT_library=Design kits/ebeam', (60.75,80.45), layer=68, texttype=0))
waveguide_1.add(gdstk.Label('Component=ebeam_wg_integral_1550', (61.25,80.45), layer=68, texttype=0))
waveguide_1.add(gdstk.Label('Spice_param:wg_length=198.959u wg_width=0.500u points="[[60.75,80.45],[60.75,74.75],[71.6,74.75],[71.6,230.0],[38.0,230.0]]" radius=5.0', (60.25,80.45), layer=68, texttype=0))

waveguide_2 = lib.new_cell('Waveguide$2')
P(waveguide_2, Si, [(57.75,95.25),(57.655,96.193),(57.376,97.099),(56.996,97.817),(56.407,98.561),(55.567,99.246),(54.724,99.676),(53.81,99.931),(52.8,100),(52.8,100.5),(53.896,100.423),(55.043,100.086),(55.963,99.584),(56.868,98.8),(57.572,97.832),(57.836,97.293),(58.078,96.585),(58.197,95.997),(58.25,95.25)])
P(waveguide_2, DevRec, [(56.75,95.25),(56.675,95.993),(56.454,96.71),(56.094,97.368),(55.614,97.939),(54.934,98.463),(54.26,98.782),(53.638,98.946),(52.8,99),(52.8,101.5),(53.537,101.477),(54.412,101.338),(55.265,101.075),(55.915,100.778),(56.671,100.308),(57.225,99.856),(57.838,99.207),(58.256,98.631),(58.685,97.847),(58.996,97.013),(59.187,96.137),(59.25,95.25)])
waveguide_2.add(gdstk.FlexPath([(52.85,100.25),(52.75,100.25)], 0.5, ends="flush", simple_path=True, layer=1, datatype=10))  # PinRec
waveguide_2.add(gdstk.FlexPath([(58,95.3),(58,95.2)], 0.5, ends="flush", simple_path=True, layer=1, datatype=10))  # PinRec
waveguide_2.add(gdstk.Label('pin1', (52.8,100.25), layer=1, texttype=10))
waveguide_2.add(gdstk.Label('pin2', (58,95.25), layer=1, texttype=10))
waveguide_2.add(gdstk.Label('Lumerical_INTERCONNECT_library=Design kits/ebeam', (52.8,100.25), layer=68, texttype=0))
waveguide_2.add(gdstk.Label('Component=ebeam_wg_integral_1550', (52.8,100.75), layer=68, texttype=0))
waveguide_2.add(gdstk.Label('Spice_param:wg_length=8.053u wg_width=0.500u points="[[52.8,100.25],[58.0,100.25],[58.0,95.25]]" radius=5.0', (52.8,99.75), layer=68, texttype=0))

mzi = lib.new_cell('MZI')
mzi.add(gdstk.Reference(ebeam_gc_te1550, (38,53)))
mzi.add(gdstk.Reference(ebeam_y_1550, (45.4,53)))
mzi.add(gdstk.Reference(ebeam_y_1550, (60.75,37.85), rotation=pi/2))
mzi.add(gdstk.Reference(waveguide, (0,-50)))
mzi.add(gdstk.Reference(ebeam_gc_te1550, (38,180)))
mzi.add(gdstk.Reference(waveguide_1, (0,-50)))
mzi.add(gdstk.Reference(waveguide_2, (0,-50)))
mzi.add(gdstk.Label('opt_in_TE_1550_PCM_PCMmziTE2', (38,180), layer=10, texttype=0))

lib.write_gds('MZI.gds')
